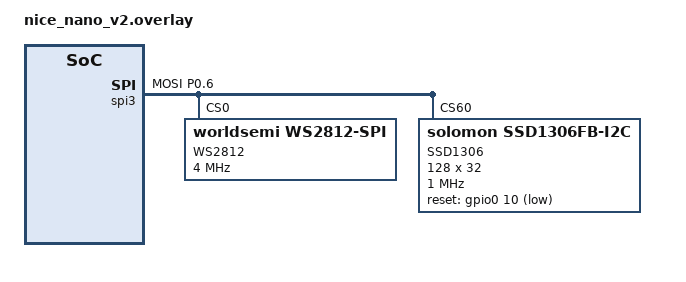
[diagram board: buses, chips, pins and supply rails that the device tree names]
#include <dt-bindings/led/led.h>
&pinctrl {
    spi3_default: spi3_default {
        group1 {
            psels = <NRF_PSEL(SPIM_MOSI, 0, 6)>;
        };
    };
    spi3_sleep: spi3_sleep {
        group1 {
            psels = <NRF_PSEL(SPIM_MOSI, 0, 6)>;
            low-power-enable;
        };
    };
};
&spi3 {
  compatible = "nordic,nrf-spim";
  status = "okay";
  pinctrl-0 = <&spi3_default>;
  pinctrl-1 = <&spi3_sleep>;
  pinctrl-names = "default", "sleep";
  led_strip: ws2812@0 {
    compatible = "worldsemi,ws2812-spi";
    label = "WS2812";
    /* SPI */
    reg = <0>; /* ignored, but necessary for SPI bindings */
    spi-max-frequency = <4000000>;
    /* WS2812 */
    chain-length = <36>; /* number of LEDs */
    spi-one-frame = <0x70>;
    spi-zero-frame = <0x40>;
    color-mapping = <LED_COLOR_ID_GREEN
                          LED_COLOR_ID_RED
                          LED_COLOR_ID_BLUE>;
  };
};

/ {
    chosen {
        zmk,underglow = &led_strip;
    };
};

&spi3 {
    status = "okay";
    ssd1306: ssd1306@3c {
        compatible = "solomon,ssd1306fb-i2c";
        reg = <0x3c>;
        label = "SSD1306";
        width = <128>;
        height = <32>;
        segment-offset = <0>;
        page-offset = <0>;
        display-offset = <0>;
        multiplex-ratio = <31>;
        precharge-period = <0x1F>;
        com-pin-config = <0x02>;
        com-scan-direction = <0>;
        vcomh-level = <0x40>;
        clock-frequency = <1000000>;
        i2c-address-width = <7>;
        i2c-speed = <I2C_SPEED_STANDARD>;
        reset-gpios = <&gpio0 10 GPIO_ACTIVE_LOW>;
    };
};
